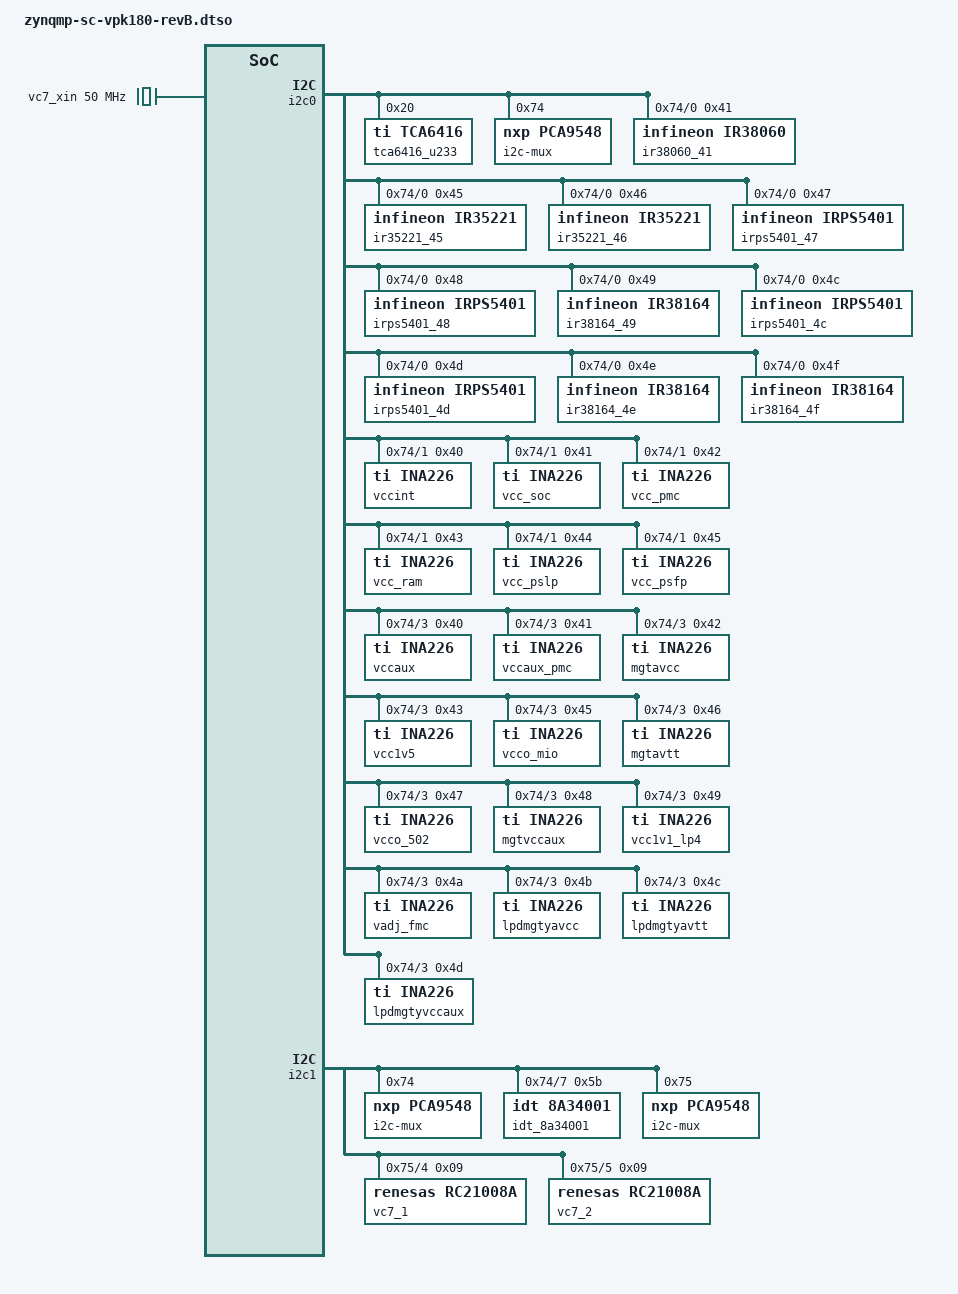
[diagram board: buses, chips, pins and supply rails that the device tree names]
// SPDX-License-Identifier: GPL-2.0
/*
 * dts file for Xilinx ZynqMP VPK180 revA
 *
 * (C) Copyright 2021 - 2022, Xilinx, Inc.
 * (C) Copyright 2022 - 2023, Advanced Micro Devices, Inc.
 *
 * Michal Simek <michal.simek@amd.com>
 */

#include <dt-bindings/gpio/gpio.h>

/dts-v1/;
/plugin/;

&{/} {
	compatible = "xlnx,zynqmp-sc-vpk180-revB", "xlnx,zynqmp-vpk180-revB",
		     "xlnx,zynqmp-vpk180", "xlnx,zynqmp";

	vc7_xin: vc7-xin {
		compatible = "fixed-clock";
		#clock-cells = <0x0>;
		clock-frequency = <50000000>;
	};
};

&i2c0 {
	#address-cells = <1>;
	#size-cells = <0>;

	tca6416_u233: gpio@20 { /* u233 */
		compatible = "ti,tca6416";
		reg = <0x20>;
		gpio-controller; /* interrupt not connected */
		#gpio-cells = <2>;
		gpio-line-names = "QSFPDD1_MODSELL", "QSFPDD2_MODSELL", "QSFPDD3_MODSELL", "QSFPDD4_MODSELL", /* 0 - 3 */
				"PMBUS2_INA226_ALERT", "QSFPDD5_MODSELL", "QSFPDD6_MODSELL", "", /* 4 - 7 */
				"FMCP1_FMC_PRSNT_M2C_B", "", "FMCP1_FMCP_PRSNT_M2C_B", "UTIL_3V3_VRHOT_B", /* 10 - 13 */
				"VCCINT_VRHOT_B", "8A34001_EXP_RST_B", "PMBUS_ALERT", "PMBUS1_INA226_ALERT"; /* 14 - 17 */
	};

	i2c-mux@74 { /* u33 */
		compatible = "nxp,pca9548";
		#address-cells = <1>;
		#size-cells = <0>;
		reg = <0x74>;
		/* reset-gpios = <&gpio SYSCTLR_IIC_MUX0_RESET_B GPIO_ACTIVE_HIGH>; */
		pmbus_i2c: i2c@0 {
			#address-cells = <1>;
			#size-cells = <0>;
			reg = <0>;
			/* On connector J325 */
			ir38060_41: regulator@41 { /* IR38060 - u259 */
				compatible = "infineon,ir38060", "infineon,ir38064";
				reg = <0x41>; /* i2c addr 0x11 */
			};
			ir35221_45: pmic@45 { /* IR35221 - u291 */
				compatible = "infineon,ir35221";
				reg = <0x45>; /* i2c addr - 0x15 */
			};
			ir35221_46: pmic@46 { /* IR35221 - u152 */
				compatible = "infineon,ir35221";
				reg = <0x46>; /* i2c addr - 0x16 */
			};
			irps5401_47: pmic5401@47 { /* IRPS5401 - u160 */
				compatible = "infineon,irps5401";
				reg = <0x47>; /* i2c addr 0x17 */
			};
			irps5401_48: pmic@48 { /* IRPS5401 - u295 */
				compatible = "infineon,irps5401";
				reg = <0x48>; /* i2c addr 0x18 */
			};
			ir38164_49: regulator@49 { /* IR38164 - u189 */
				compatible = "infineon,ir38164";
				reg = <0x49>; /* i2c addr 0x19 */
			};
			irps5401_4c: pmic@4c { /* IRPS5401 - u167 */
				compatible = "infineon,irps5401";
				reg = <0x4c>; /* i2c addr 0x1c */
			};
			irps5401_4d: pmic@4d { /* IRPS5401 - u175 */
				compatible = "infineon,irps5401";
				reg = <0x4d>; /* i2c addr 0x1d */
			};
			ir38164_4e: regulator@4e { /* IR38164 - u185 */
				compatible = "infineon,ir38164";
				reg = <0x4e>; /* i2c addr 0x1e */
			};
			ir38164_4f: regulator@4f { /* IR38164 - u187 */
				compatible = "infineon,ir38164";
				reg = <0x4f>; /* i2c addr 0x1f */
			};
		};
		pmbus1_ina226_i2c: i2c@1 {
			#address-cells = <1>;
			#size-cells = <0>;
			reg = <1>;
			/* FIXME check alerts coming to SC */
			vccint: ina226@40 { /* u65 */
				compatible = "ti,ina226";
				reg = <0x40>;
				shunt-resistor = <5000>; /* r440 */
			};
			vcc_soc: ina226@41 { /* u161 */
				compatible = "ti,ina226";
				reg = <0x41>;
				shunt-resistor = <5000>; /* r2174 */
			};
			vcc_pmc: ina226@42 { /* u163 */
				compatible = "ti,ina226";
				reg = <0x42>;
				shunt-resistor = <5000>; /* r1214 */
			};
			vcc_ram: ina226@43 { /* u5 */
				compatible = "ti,ina226";
				reg = <0x43>;
				shunt-resistor = <5000>; /* r2108 */
			};
			vcc_pslp: ina226@44 { /* u165 */
				compatible = "ti,ina226";
				reg = <0x44>;
				shunt-resistor = <5000>; /* r1830 */
			};
			vcc_psfp: ina226@45 { /* u164 */
				compatible = "ti,ina226";
				reg = <0x45>;
				shunt-resistor = <5000>; /* r2086 */
			};
		};
		i2c@2 { /* NC */ /* FIXME maybe remove */
			#address-cells = <1>;
			#size-cells = <0>;
			reg = <2>;
		};
		pmbus2_ina226_i2c: i2c@3 {
			#address-cells = <1>;
			#size-cells = <0>;
			reg = <3>;
			/* FIXME check alerts coming to SC */
			vccaux: ina226@40 { /* u166 */
				compatible = "ti,ina226";
				reg = <0x40>;
				shunt-resistor = <2000>; /* r2109 */
			};
			vccaux_pmc: ina226@41 { /* u168 */
				compatible = "ti,ina226";
				reg = <0x41>;
				shunt-resistor = <5000>; /* r1246 */
			};
			mgtavcc: ina226@42 { /* u265 */
				compatible = "ti,ina226";
				reg = <0x42>;
				shunt-resistor = <5000>; /* r1829 */
			};
			vcc1v5: ina226@43 { /* u264 */
				compatible = "ti,ina226";
				reg = <0x43>;
				shunt-resistor = <5000>; /* r1221 */
			};
			vcco_mio: ina226@45 { /* u172 */
				compatible = "ti,ina226";
				reg = <0x45>;
				shunt-resistor = <5000>; /* r1219 */
			};
			mgtavtt: ina226@46 { /* u188 */
				compatible = "ti,ina226";
				reg = <0x46>;
				shunt-resistor = <2000>; /* r1384 */
			};
			vcco_502: ina226@47 { /* u174 */
				compatible = "ti,ina226";
				reg = <0x47>;
				shunt-resistor = <5000>; /* r1825 */
			};
			mgtvccaux: ina226@48 { /* u176 */
				compatible = "ti,ina226";
				reg = <0x48>;
				shunt-resistor = <5000>; /* r1232 */
			};
			vcc1v1_lp4: ina226@49 { /* u186 */
				compatible = "ti,ina226";
				reg = <0x49>;
				shunt-resistor = <2000>; /* r1367 */
			};
			vadj_fmc: ina226@4a { /* u184 */
				compatible = "ti,ina226";
				reg = <0x4a>;
				shunt-resistor = <2000>; /* r1350 */
			};
			lpdmgtyavcc: ina226@4b { /* u177 */
				compatible = "ti,ina226";
				reg = <0x4b>;
				shunt-resistor = <5000>; /* r2097 */
			};
			lpdmgtyavtt: ina226@4c { /* u260 */
				compatible = "ti,ina226";
				reg = <0x4c>;
				shunt-resistor = <2000>; /* r1834 */
			};
			lpdmgtyvccaux: ina226@4d { /* u234 */
				compatible = "ti,ina226";
				reg = <0x4d>;
				shunt-resistor = <5000>; /* r1679 */
			};
		};
		/* 4 - 7 unused */
	};
};

&i2c1 {
	#address-cells = <1>;
	#size-cells = <0>;

	i2c-mux@74 { /* u35 */
		compatible = "nxp,pca9548";
		#address-cells = <1>;
		#size-cells = <0>;
		reg = <0x74>;
		i2c-mux-idle-disconnect;
		/* reset-gpios = <&PL_GPIO SYSCTLR_IIC_MUX1_RESET_B GPIO_ACTIVE_HIGH>; */
		i2c@0 {
			#address-cells = <1>;
			#size-cells = <0>;
			reg = <0>;
		};
		fmcp1_i2c: i2c@1 {
			#address-cells = <1>;
			#size-cells = <0>;
			reg = <1>;
			/* connection to Samtec J51C */
			/* expected eeprom 0x50 SE cards */
		};
		osfp_i2c: i2c@2 {
			#address-cells = <1>;
			#size-cells = <0>;
			reg = <2>;
			/* J362 connector */
		};
		i2c@3 {
			#address-cells = <1>;
			#size-cells = <0>;
			reg = <3>;
			/* alternative option DNP - u305 at 0x50 */
		};
		i2c@4 {
			#address-cells = <1>;
			#size-cells = <0>;
			reg = <4>;
			/* alternative option DNP - u303 at 0x50 */
		};
		i2c@5 {
			#address-cells = <1>;
			#size-cells = <0>;
			reg = <5>;
			/* alternative option DNP - u301 at 0x50 */
		};
		qsfpdd_i2c: i2c@6 {
			#address-cells = <1>;
			#size-cells = <0>;
			reg = <6>;
			/* J1/J2/J355/J354/J359/J358 connectors */
		};
		idt8a34001_i2c: i2c@7 {
			#address-cells = <1>;
			#size-cells = <0>;
			reg = <7>;
			/* Via J310 connector */
			idt_8a34001: phc@5b { /* u219B */
				compatible = "idt,8a34001";
				reg = <0x5b>;
			};
		};
	};
	i2c-mux@75 { /* u322 */
		compatible = "nxp,pca9548";
		#address-cells = <1>;
		#size-cells = <0>;
		reg = <0x75>;
		i2c-mux-idle-disconnect;
		/* reset-gpios = <&PL_GPIO SYSCTLR_IIC_MUX1_RESET_B GPIO_ACTIVE_HIGH>; */
		sfpdd1_i2c: i2c@0 {
			#address-cells = <1>;
			#size-cells = <0>;
			reg = <0>;
			/* J350 sfp-dd at 0x50 */
		};
		sfpdd2_i2c: i2c@1 {
			#address-cells = <1>;
			#size-cells = <0>;
			reg = <1>;
			/* J352 sfp-dd at 0x50 */
		};
		sfpdd3_i2c: i2c@2 {
			#address-cells = <1>;
			#size-cells = <0>;
			reg = <2>;
			/* J385 sfp-dd at 0x50 */
		};
		sfpdd4_i2c: i2c@3 {
			#address-cells = <1>;
			#size-cells = <0>;
			reg = <3>;
			/* J387 sfp-dd at 0x50 */
		};
		rc21008a_gtclk1_i2c: i2c@4 {
			#address-cells = <1>;
			#size-cells = <0>;
			reg = <4>;
			vc7_1: clock-generator@9 {
				compatible = "renesas,rc21008a";
				clock-output-names = "rc21008a-0";
				reg = <0x9>;
				#clock-cells = <1>;
				clocks = <&vc7_xin>;
				clock-names = "xin";
			};
			/* u298 - rc21008a at 0x9 */
			/* connector J370 */
		};
		rc21008a_gtclk2_i2c: i2c@5 {
			#address-cells = <1>;
			#size-cells = <0>;
			reg = <5>;
			vc7_2: clock-generator@9 {
				compatible = "renesas,rc21008a";
				clock-output-names = "rc21008a-1";
				reg = <0x9>;
				#clock-cells = <1>;
				clocks = <&vc7_xin>;
				clock-names = "xin";
			};
			/* u299 - rc21008a at 0x9 */
			/* connector J371 */
		};
	};
};
